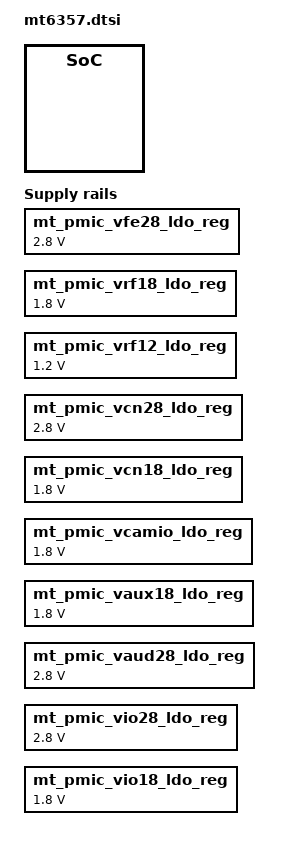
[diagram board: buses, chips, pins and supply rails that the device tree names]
/*
 * Copyright (c) 2017 MediaTek Inc.
 *
 * This program is free software; you can redistribute it and/or modify
 * it under the terms of the GNU General Public License version 2 as
 * published by the Free Software Foundation.
 *
 * This program is distributed in the hope that it will be useful,
 * but WITHOUT ANY WARRANTY; without even the implied warranty of
 * MERCHANTABILITY or FITNESS FOR A PARTICULAR PURPOSE.  See the
 * GNU General Public License for more details.
 */

/ {
mt_pmic_regulator {
	compatible = "mediatek,mt_pmic";
	buck_regulators {
		compatible = "mediatek,mt_pmic_buck_regulators";
		mt_pmic_vs1_buck_reg: buck_vs1 {
			regulator-name = "vs1";
			regulator-min-microvolt = <1200000>;
			regulator-max-microvolt = <2200000>;
			regulator-ramp-delay = <12500>;
			regulator-enable-ramp-delay = <220>;
		};
		mt_pmic_vmodem_buck_reg: buck_vmodem {
			regulator-name = "vmodem";
			regulator-min-microvolt = <500000>;
			regulator-max-microvolt = <1193750>;
			regulator-ramp-delay = <6250>;
			regulator-enable-ramp-delay = <220>;
		};
		mt_pmic_vcore_buck_reg: buck_vcore {
			regulator-name = "vcore";
			regulator-min-microvolt = <518750>;
			regulator-max-microvolt = <1193750>;
			regulator-ramp-delay = <6250>;
			regulator-enable-ramp-delay = <220>;
		};
		mt_pmic_vproc_buck_reg: buck_vproc {
			regulator-name = "vproc";
			regulator-min-microvolt = <518750>;
			regulator-max-microvolt = <1312500>;
			regulator-ramp-delay = <6250>;
			regulator-enable-ramp-delay = <220>;
		};
		mt_pmic_vpa_buck_reg: buck_vpa {
			regulator-name = "vpa";
			regulator-min-microvolt = <500000>;
			regulator-max-microvolt = <3650000>;
			regulator-ramp-delay = <50000>;
			regulator-enable-ramp-delay = <220>;
		};
	};	/* End of buck_regulators */
	ldo_regulators {
		compatible = "mediatek,mt_pmic_ldo_regulators";
		mt_pmic_vfe28_ldo_reg: ldo_vfe28 {
			compatible = "regulator-fixed";
			regulator-name = "vfe28";
			regulator-min-microvolt = <2800000>;
			regulator-max-microvolt = <2800000>;
			regulator-enable-ramp-delay = <264>;
		};
		mt_pmic_vxo22_ldo_reg: ldo_vxo22 {
			regulator-name = "vxo22";
			regulator-min-microvolt = <2200000>;
			regulator-max-microvolt = <2400000>;
			regulator-enable-ramp-delay = <110>;
		};
		mt_pmic_vrf18_ldo_reg: ldo_vrf18 {
			compatible = "regulator-fixed";
			regulator-name = "vrf18";
			regulator-min-microvolt = <1800000>;
			regulator-max-microvolt = <1800000>;
			regulator-enable-ramp-delay = <110>;
		};
		mt_pmic_vrf12_ldo_reg: ldo_vrf12 {
			compatible = "regulator-fixed";
			regulator-name = "vrf12";
			regulator-min-microvolt = <1200000>;
			regulator-max-microvolt = <1200000>;
			regulator-enable-ramp-delay = <110>;
		};
		mt_pmic_vefuse_ldo_reg: ldo_vefuse {
			regulator-name = "vefuse";
			regulator-min-microvolt = <1200000>;
			regulator-max-microvolt = <3300000>;
			regulator-enable-ramp-delay = <264>;
		};
		mt_pmic_vcn33_bt_ldo_reg: ldo_vcn33_bt {
			regulator-name = "vcn33_bt";
			regulator-min-microvolt = <3300000>;
			regulator-max-microvolt = <3500000>;
			regulator-enable-ramp-delay = <264>;
		};
		mt_pmic_vcn33_wifi_ldo_reg: ldo_vcn33_wifi {
			regulator-name = "vcn33_wifi";
			regulator-min-microvolt = <3300000>;
			regulator-max-microvolt = <3500000>;
			regulator-enable-ramp-delay = <264>;
		};
		mt_pmic_vcn28_ldo_reg: ldo_vcn28 {
			compatible = "regulator-fixed";
			regulator-name = "vcn28";
			regulator-min-microvolt = <2800000>;
			regulator-max-microvolt = <2800000>;
			regulator-enable-ramp-delay = <264>;
		};
		mt_pmic_vcn18_ldo_reg: ldo_vcn18 {
			compatible = "regulator-fixed";
			regulator-name = "vcn18";
			regulator-min-microvolt = <1800000>;
			regulator-max-microvolt = <1800000>;
			regulator-enable-ramp-delay = <264>;
		};
		mt_pmic_vcama_ldo_reg: ldo_vcama {
			regulator-name = "vcama";
			regulator-min-microvolt = <2500000>;
			regulator-max-microvolt = <2800000>;
			regulator-enable-ramp-delay = <264>;
		};
		mt_pmic_vcamd_ldo_reg: ldo_vcamd {
			regulator-name = "vcamd";
			regulator-min-microvolt = <1000000>;
			regulator-max-microvolt = <1800000>;
			regulator-enable-ramp-delay = <264>;
		};
		mt_pmic_vcamio_ldo_reg: ldo_vcamio {
			compatible = "regulator-fixed";
			regulator-name = "vcamio";
			regulator-min-microvolt = <1800000>;
			regulator-max-microvolt = <1800000>;
			regulator-enable-ramp-delay = <264>;
		};
		mt_pmic_vldo28_ldo_reg: ldo_vldo28 {
			regulator-name = "vldo28";
			regulator-min-microvolt = <2800000>;
			regulator-max-microvolt = <3000000>;
			regulator-enable-ramp-delay = <264>;
		};
		mt_pmic_vsram_others_ldo_reg: ldo_vsram_others {
			regulator-name = "vsram_others";
			regulator-min-microvolt = <518750>;
			regulator-max-microvolt = <1312500>;
			regulator-ramp-delay = <6250>;
			regulator-enable-ramp-delay = <110>;
		};
		mt_pmic_vsram_proc_ldo_reg: ldo_vsram_proc {
			regulator-name = "vsram_proc";
			regulator-min-microvolt = <518750>;
			regulator-max-microvolt = <1312500>;
			regulator-ramp-delay = <6250>;
			regulator-enable-ramp-delay = <110>;
		};
		mt_pmic_vaux18_ldo_reg: ldo_vaux18 {
			compatible = "regulator-fixed";
			regulator-name = "vaux18";
			regulator-min-microvolt = <1800000>;
			regulator-max-microvolt = <1800000>;
			regulator-enable-ramp-delay = <264>;
		};
		mt_pmic_vaud28_ldo_reg: ldo_vaud28 {
			compatible = "regulator-fixed";
			regulator-name = "vaud28";
			regulator-min-microvolt = <2800000>;
			regulator-max-microvolt = <2800000>;
			regulator-enable-ramp-delay = <264>;
		};
		mt_pmic_vio28_ldo_reg: ldo_vio28 {
			compatible = "regulator-fixed";
			regulator-name = "vio28";
			regulator-min-microvolt = <2800000>;
			regulator-max-microvolt = <2800000>;
			regulator-enable-ramp-delay = <264>;
		};
		mt_pmic_vio18_ldo_reg: ldo_vio18 {
			compatible = "regulator-fixed";
			regulator-name = "vio18";
			regulator-min-microvolt = <1800000>;
			regulator-max-microvolt = <1800000>;
			regulator-enable-ramp-delay = <264>;
		};
		mt_pmic_vdram_ldo_reg: ldo_vdram {
			regulator-name = "vdram";
			regulator-min-microvolt = <1100000>;
			regulator-max-microvolt = <1200000>;
			regulator-enable-ramp-delay = <3300>;
		};
		mt_pmic_vmc_ldo_reg: ldo_vmc {
			regulator-name = "vmc";
			regulator-min-microvolt = <1800000>;
			regulator-max-microvolt = <3300000>;
			regulator-enable-ramp-delay = <44>;
		};
		mt_pmic_vmch_ldo_reg: ldo_vmch {
			regulator-name = "vmch";
			regulator-min-microvolt = <2900000>;
			regulator-max-microvolt = <3300000>;
			regulator-enable-ramp-delay = <44>;
		};
		mt_pmic_vemc_ldo_reg: ldo_vemc {
			regulator-name = "vemc";
			regulator-min-microvolt = <2900000>;
			regulator-max-microvolt = <3300000>;
			regulator-enable-ramp-delay = <44>;
		};
		mt_pmic_vsim1_ldo_reg: ldo_vsim1 {
			regulator-name = "vsim1";
			regulator-min-microvolt = <1700000>;
			regulator-max-microvolt = <3100000>;
			regulator-enable-ramp-delay = <264>;
		};
		mt_pmic_vsim2_ldo_reg: ldo_vsim2 {
			regulator-name = "vsim2";
			regulator-min-microvolt = <1700000>;
			regulator-max-microvolt = <3100000>;
			regulator-enable-ramp-delay = <264>;
		};
		mt_pmic_vibr_ldo_reg: ldo_vibr {
			regulator-name = "vibr";
			regulator-min-microvolt = <1200000>;
			regulator-max-microvolt = <3300000>;
			regulator-enable-ramp-delay = <44>;
		};
		mt_pmic_vusb33_ldo_reg: ldo_vusb33 {
			regulator-name = "vusb33";
			regulator-min-microvolt = <3000000>;
			regulator-max-microvolt = <3100000>;
			regulator-enable-ramp-delay = <264>;
		};
	};	/* End of ldo_regulators */
};/* End of mt_pmic_regulator */
};
